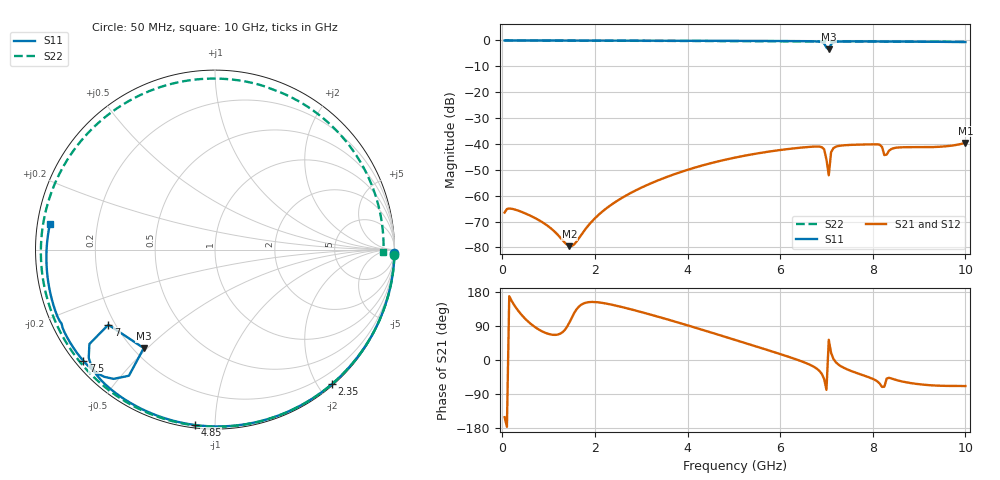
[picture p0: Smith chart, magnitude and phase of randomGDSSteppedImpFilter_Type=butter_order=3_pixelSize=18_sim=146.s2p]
! freq	dB(S11)	phase(S11)	dB(S12)	phase(S12)
!  dB(S21)	phase(S21)	dB(S22)	phase(S22)
!S-par simulation data
#  GHz  S  DB  R 50
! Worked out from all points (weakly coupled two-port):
!   200 points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, 50 MHz to 10 GHz, reference 50 ohm
!   highest |S21| = -39.60 dB at 10 GHz (marker M1); lowest = -79.5 dB at 1.45 GHz (marker M2)
!   lowest |S11| = -3.4 dB at 7.05 GHz (marker M3), VSWR 5.20, Z = 12 - j24.4 ohm
!   |S11| at or under -10 dB: nowhere
!   |S22| runs from -0.5 to 0.0 dB; largest |S21 - S12| = 0
!   S11 on the Smith chart (normalised r, x): 50 MHz: open; 2.35 GHz: 0.02, -2.20; 4.85 GHz: 0.01, -0.89; 7 GHz: 0.17, -0.31; 7.5 GHz: 0.02, -0.36; 10 GHz: 0.04, +0.08
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0.05  -0.00 -1.1  -66.52 -150.8  -66.52 -150.8  -0.00 -1.8
0.2  -0.00 -4.3  -65.06 156.4  -65.06 156.4  -0.00 -7.3
0.7  -0.01 -14.9  -68.60 87.4  -68.60 87.4  -0.03 -25.2
1.45  -0.04 -30.6  -79.53 99.1  -79.53 99.1  -0.06 -51.5
1.75  -0.05 -36.8  -74.02 148.9  -74.02 148.9  -0.08 -61.8
2.35  -0.06 -49.0  -63.56 146.3  -63.56 146.3  -0.10 -81.9
3.4  -0.09 -69.6  -53.83 113.0  -53.83 113.0  -0.15 -115.9
4.85  -0.14 -96.6  -45.96 59.7  -45.96 59.7  -0.23 -162.1
5.05  -0.15 -100.2  -45.20 52.2  -45.20 52.2  -0.24 -168.6
5.9  -0.20 -115.6  -42.60 19.7  -42.60 19.7  -0.30 162.8
6.7  -0.32 -131.7  -41.07 -16.0  -41.07 -16.0  -0.36 133.8
6.95  -1.15 -143.1  -42.05 -50.2  -42.05 -50.2  -0.37 124.3
7  -2.77 -144.8  -46.09 -78.7  -46.09 -78.7  -0.38 122.4
7.05  -3.38 -125.9  -52.12 53.4  -52.12 53.4  -0.38 120.5
7.1  -1.40 -124.3  -43.20 18.8  -43.20 18.8  -0.38 118.5
7.15  -0.76 -128.1  -41.63 3.2  -41.63 3.2  -0.39 116.6
7.5  -0.35 -139.9  -40.40 -27.4  -40.40 -27.4  -0.40 102.6
8.15  -0.41 -152.8  -40.30 -62.3  -40.30 -62.3  -0.43 75.7
8.25  -0.45 -154.4  -44.32 -70.4  -44.32 -70.4  -0.45 71.4
8.35  -0.41 -156.1  -42.65 -46.9  -42.65 -46.9  -0.46 67.3
9.2  -0.50 -172.4  -41.25 -66.2  -41.25 -66.2  -0.48 31.5
10  -0.63 171.2  -39.60 -68.7  -39.60 -68.7  -0.55 -1.0
